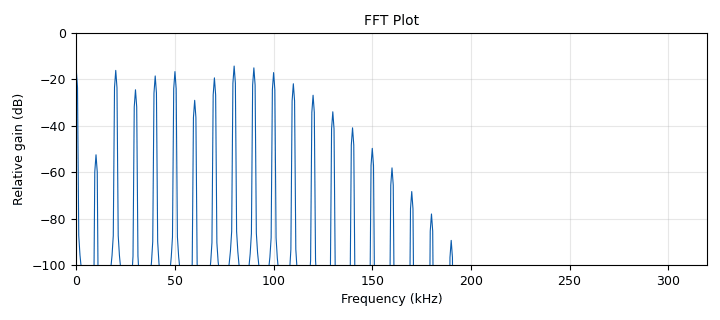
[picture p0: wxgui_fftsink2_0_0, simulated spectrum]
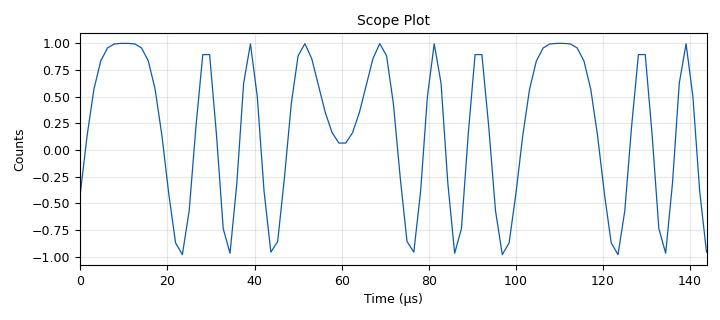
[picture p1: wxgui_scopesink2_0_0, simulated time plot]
<?xml version='1.0' encoding='utf-8'?>
<flow_graph>
<block>
<key>options</key>
<param><key>id</key><value>top_block</value></param>
<param><key>generate_options</key><value>wx_gui</value></param>
<param><key>category</key><value>Custom</value></param>
</block>
<block>
<key>variable</key>
<param><key>id</key><value>samp_rate</value></param>
<param><key>value</key><value>640000</value></param>
</block>
<block>
<key>analog_phase_modulator_fc</key>
<param><key>id</key><value>analog_phase_modulator_fc_0</value></param>
<param><key>sensitivity</key><value>1</value></param>
</block>
<block>
<key>blocks_complex_to_float</key>
<param><key>id</key><value>blocks_complex_to_float_0</value></param>
</block>
<block>
<key>rational_resampler_xxx</key>
<param><key>id</key><value>rational_resampler_xxx_0_0_0</value></param>
<param><key>type</key><value>fff</value></param>
<param><key>interp</key><value>1</value></param>
<param><key>decim</key><value>16</value></param>
<param><key>taps</key><value></value></param>
</block>
<block>
<key>wxgui_fftsink2</key>
<param><key>id</key><value>wxgui_fftsink2_0_0</value></param>
<param><key>type</key><value>float</value></param>
<param><key>title</key><value>FFT Plot</value></param>
<param><key>samp_rate</key><value>samp_rate</value></param>
<param><key>baseband_freq</key><value>0</value></param>
<param><key>y_per_div</key><value>10</value></param>
<param><key>y_divs</key><value>10</value></param>
<param><key>ref_level</key><value>0</value></param>
<param><key>ref_scale</key><value>2.0</value></param>
<param><key>fft_size</key><value>1024</value></param>
<param><key>fft_rate</key><value>15</value></param>
<param><key>peak_hold</key><value>False</value></param>
<param><key>average</key><value>False</value></param>
<param><key>avg_alpha</key><value>0</value></param>
<param><key>win</key><value>window.hamming</value></param>
<param><key>notebook</key><value>notebook_0 ,0</value></param>
<param><key>freqvar</key><value>None</value></param>
</block>
<block>
<key>wxgui_scopesink2</key>
<param><key>id</key><value>wxgui_scopesink2_0_0</value></param>
<param><key>type</key><value>float</value></param>
<param><key>title</key><value>Scope Plot</value></param>
<param><key>samp_rate</key><value>samp_rate</value></param>
<param><key>v_scale</key><value>0</value></param>
<param><key>v_offset</key><value>0</value></param>
<param><key>t_scale</key><value>0</value></param>
<param><key>ac_couple</key><value>False</value></param>
<param><key>xy_mode</key><value>False</value></param>
<param><key>num_inputs</key><value>1</value></param>
<param><key>notebook</key><value>notebook_0,1</value></param>
<param><key>trig_mode</key><value>wxgui.TRIG_MODE_AUTO</value></param>
<param><key>y_axis_label</key><value>Counts</value></param>
</block>
<block>
<key>notebook</key>
<param><key>id</key><value>notebook_0</value></param>
<param><key>style</key><value>wx.NB_TOP</value></param>
<param><key>labels</key><value>['fftDe','scopeDe']</value></param>
</block>
<block>
<key>iir_filter_xxx</key>
<param><key>id</key><value>iir_filter_xxx_0</value></param>
<param><key>type</key><value>ffd</value></param>
<param><key>fftaps</key><value>[1]</value></param>
<param><key>fbtaps</key><value>[1,1]</value></param>
</block>
<block>
<key>rational_resampler_xxx</key>
<param><key>id</key><value>rational_resampler_xxx_0_0</value></param>
<param><key>type</key><value>fff</value></param>
<param><key>interp</key><value>16</value></param>
<param><key>decim</key><value>1</value></param>
<param><key>taps</key><value></value></param>
</block>
<block>
<key>analog_sig_source_x</key>
<param><key>id</key><value>analog_sig_source_x_0</value></param>
<param><key>type</key><value>float</value></param>
<param><key>samp_rate</key><value>samp_rate</value></param>
<param><key>waveform</key><value>analog.GR_SIN_WAVE</value></param>
<param><key>freq</key><value>10000</value></param>
<param><key>amp</key><value>1</value></param>
<param><key>offset</key><value>0</value></param>
</block>
<connection><source_block_id>analog_sig_source_x_0</source_block_id><sink_block_id>iir_filter_xxx_0</sink_block_id><source_key>0</source_key><sink_key>0</sink_key></connection>
<connection><source_block_id>analog_phase_modulator_fc_0</source_block_id><sink_block_id>blocks_complex_to_float_0</sink_block_id><source_key>0</source_key><sink_key>0</sink_key></connection>
<connection><source_block_id>iir_filter_xxx_0</source_block_id><sink_block_id>rational_resampler_xxx_0_0</sink_block_id><source_key>0</source_key><sink_key>0</sink_key></connection>
<connection><source_block_id>rational_resampler_xxx_0_0</source_block_id><sink_block_id>analog_phase_modulator_fc_0</sink_block_id><source_key>0</source_key><sink_key>0</sink_key></connection>
<connection><source_block_id>blocks_complex_to_float_0</source_block_id><sink_block_id>rational_resampler_xxx_0_0_0</sink_block_id><source_key>0</source_key><sink_key>0</sink_key></connection>
<connection><source_block_id>rational_resampler_xxx_0_0_0</source_block_id><sink_block_id>wxgui_scopesink2_0_0</sink_block_id><source_key>0</source_key><sink_key>0</sink_key></connection>
<connection><source_block_id>rational_resampler_xxx_0_0_0</source_block_id><sink_block_id>wxgui_fftsink2_0_0</sink_block_id><source_key>0</source_key><sink_key>0</sink_key></connection>
</flow_graph>
